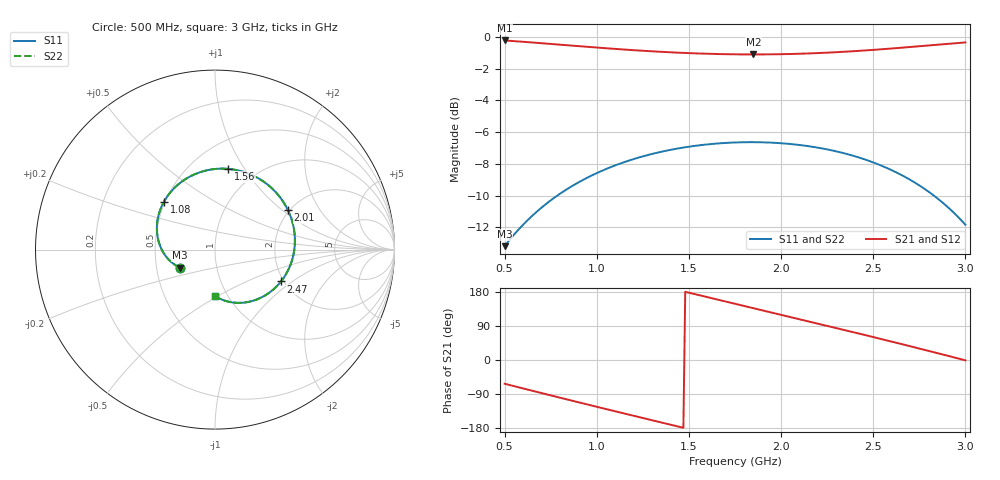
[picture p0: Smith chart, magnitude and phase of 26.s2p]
!freq-unit  param-type  data-format  keyword  impedance-ohms
# GHZ  S  RI  R  50
!Freq  ReS11  ImS11  ReS21  ImS21  ReS12  ImS12  ReS22  ImS22
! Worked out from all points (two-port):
!   251 points, 500 MHz to 3 GHz, reference 50 ohm
!   highest |S21| = -0.23 dB at 500 MHz (marker M1); lowest = -1.1 dB at 1.85 GHz (marker M2)
!   |S21| within 3 dB of the highest: start of sweep to end of sweep
!   lowest |S11| = -13.2 dB at 500 MHz (marker M3), VSWR 1.56, Z = 33.1 - j6.97 ohm
!   |S11| at or under -10 dB: start of sweep to 785.2 MHz; 2.83 GHz to end of sweep
!   |S22| runs from -13.2 to -6.6 dB; largest |S21 - S12| = 0
!   S11 on the Smith chart (normalised r, x): 500 MHz: 0.66, -0.14; 1.08 GHz: 0.49, +0.31; 1.56 GHz: 0.75, +0.85; 2.01 GHz: 1.97, +1.10; 2.47 GHz: 1.93, -0.82; 3 GHz: 0.87, -0.48
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0.5  -0.1951 -0.1003  0.4466 -0.8649  0.4466 -0.8649  -0.1951 -0.1003
0.6  -0.2476 -0.0658  0.2491 -0.9315  0.2491 -0.9315  -0.2476 -0.0658
0.71  -0.293 -0.00724  0.0249 -0.953  0.0249 -0.953  -0.293 -0.00724
0.81  -0.3178 0.0602  -0.1744 -0.927  -0.1744 -0.927  -0.3178 0.0602
0.92  -0.3227 0.1436  -0.378 -0.8523  -0.378 -0.8523  -0.3227 0.1436
1.08  -0.2847 0.2663  -0.6259 -0.6705  -0.6259 -0.6705  -0.2847 0.2663
1.21  -0.2165 0.3528  -0.7722 -0.4747  -0.7722 -0.4747  -0.2165 0.3528
1.34  -0.1213 0.416  -0.861 -0.2517  -0.861 -0.2517  -0.1213 0.416
1.45  -0.0265 0.4454  -0.889 -0.0533  -0.889 -0.0533  -0.0265 0.4454
1.56  0.0745 0.4497  -0.8736 0.1444  -0.8736 0.1444  0.0745 0.4497
1.65  0.1568 0.4338  -0.83 0.2997  -0.83 0.2997  0.1568 0.4338
1.75  0.2427 0.3965  -0.7509 0.4595  -0.7509 0.4595  0.2427 0.3965
1.85  0.3182 0.3404  -0.6425 0.6008  -0.6425 0.6008  0.3182 0.3404
2.01  0.4066 0.2193  -0.4182 0.7759  -0.4182 0.7759  0.4066 0.2193
2.17  0.4443 0.0758  -0.1485 0.8744  -0.1485 0.8744  0.4443 0.0758
2.32  0.429 -0.0599  0.1247 0.8866  0.1247 0.8866  0.429 -0.0599
2.47  0.3678 -0.1773  0.395 0.816  0.395 0.816  0.3678 -0.1773
2.59  0.2927 -0.2467  0.5927 0.7002  0.5927 0.7002  0.2927 -0.2467
2.7  0.2112 -0.2852  0.7473 0.5507  0.7473 0.5507  0.2112 -0.2852
2.81  0.1263 -0.2967  0.8659 0.3651  0.8659 0.3651  0.1263 -0.2967
2.91  0.0535 -0.2842  0.9346 0.1721  0.9346 0.1721  0.0535 -0.2842
3  -0.00264 -0.2561  0.9594 -0.0146  0.9594 -0.0146  -0.00264 -0.2561
